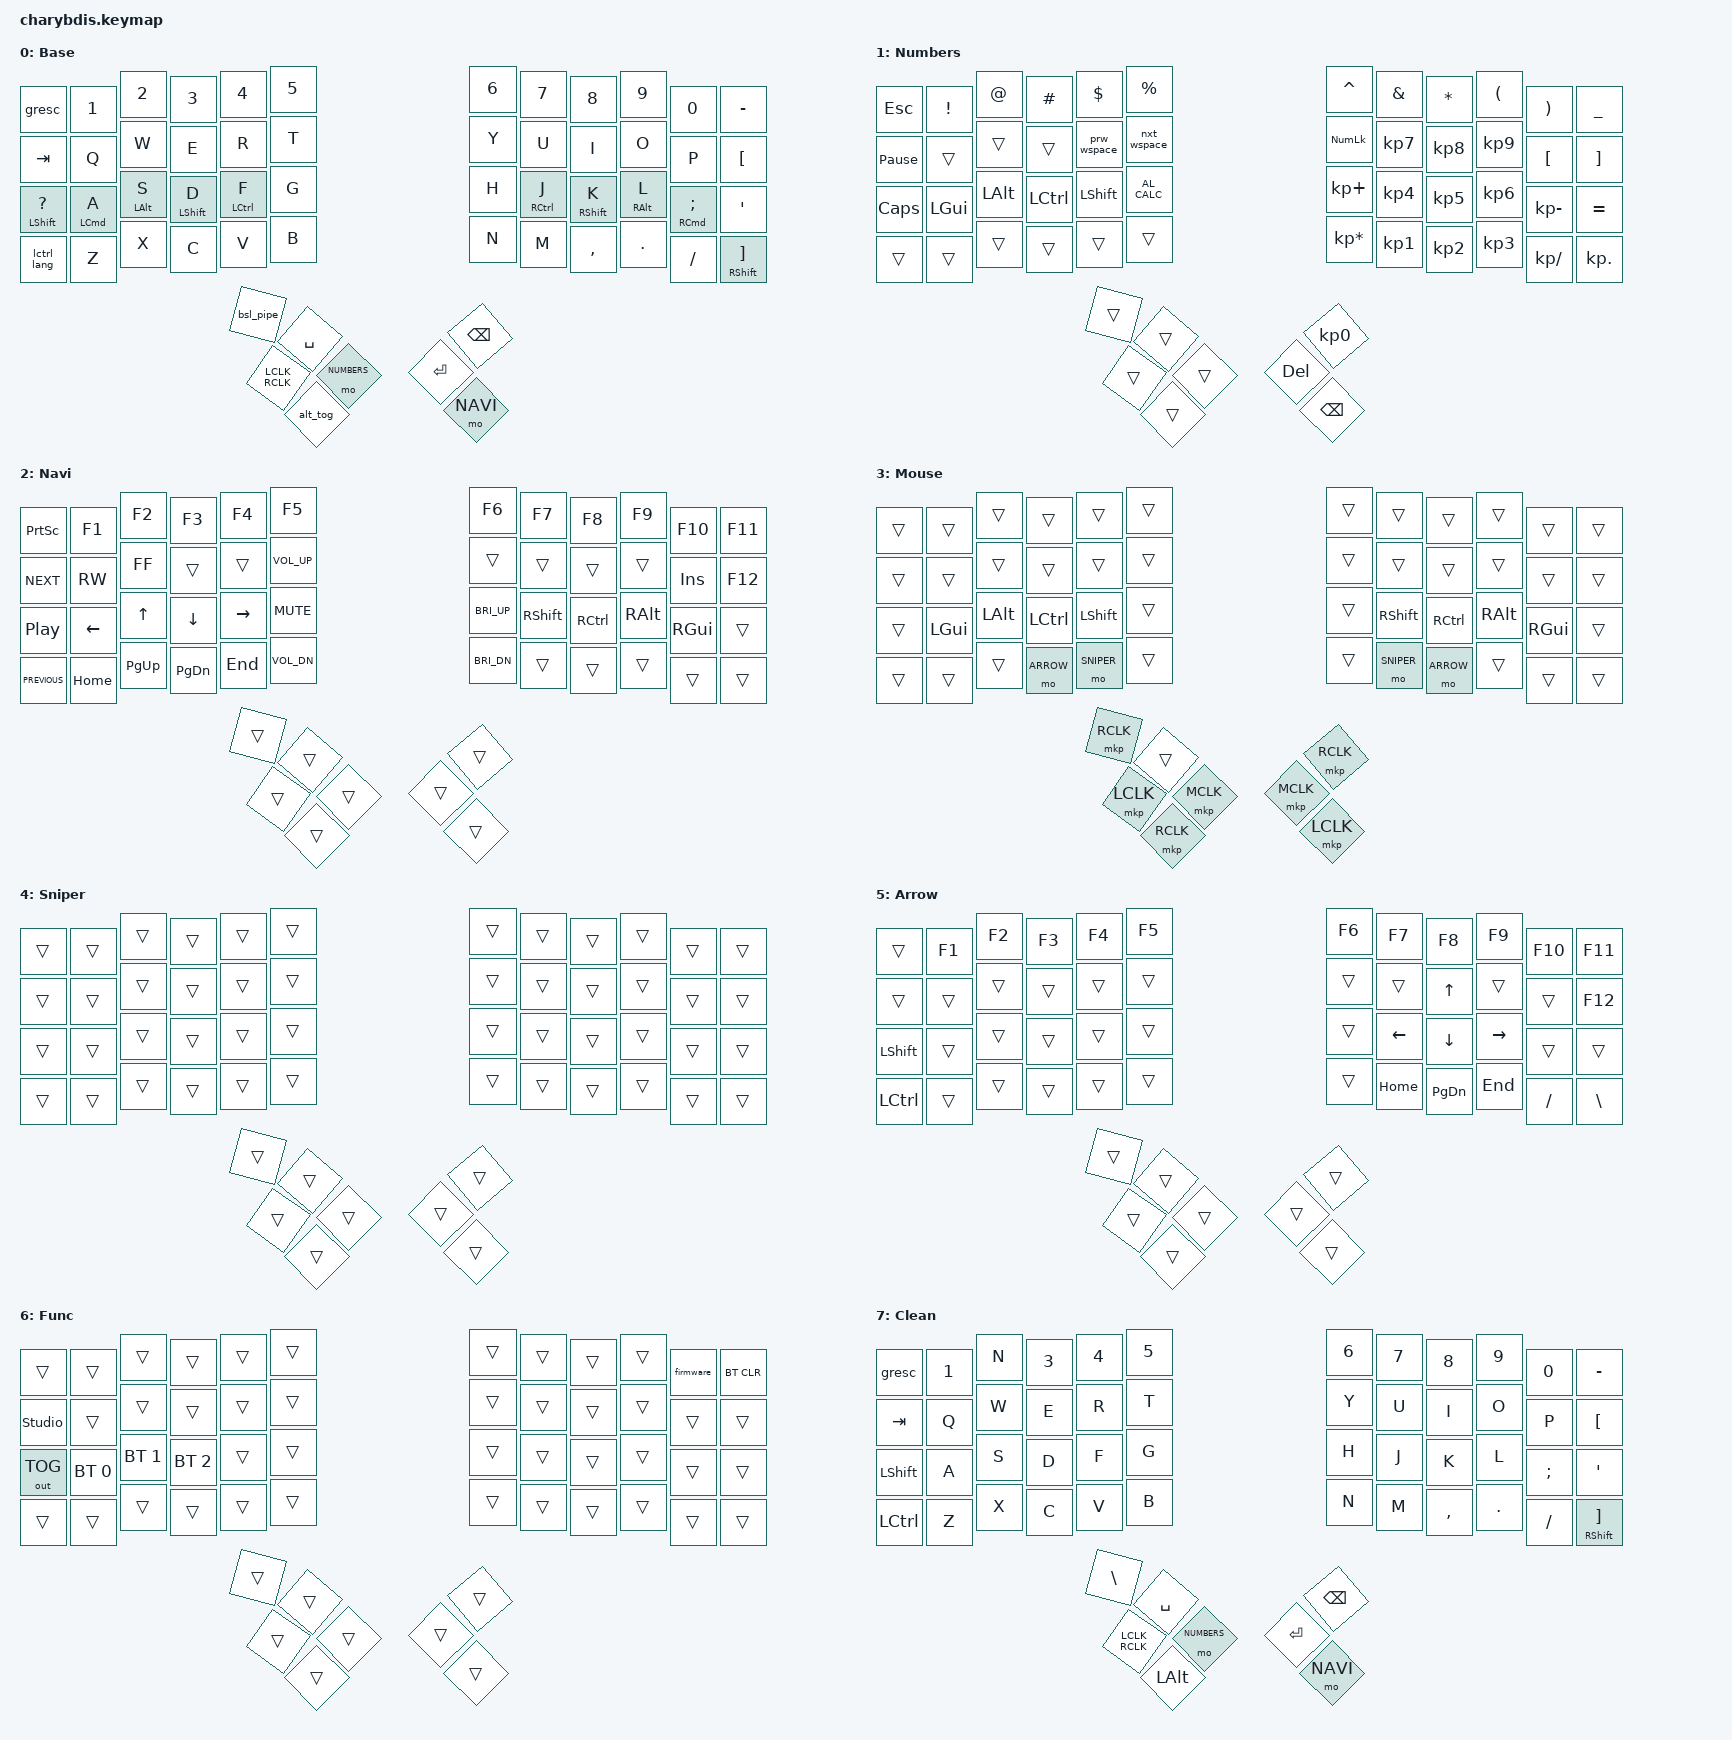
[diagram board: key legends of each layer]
wsssssssssssssssssssssssssssssssssssssssssssssssssssssssssssssssssssaaaaaaaaaaaaaaaaaaaa#include <behaviors.dtsi>
#include <input/processors.dtsi>
#include <dt-bindings/zmk/keys.h>
#include <dt-bindings/zmk/bt.h>
#include <dt-bindings/zmk/mouse.h>
#include <dt-bindings/zmk/ext_power.h>
#include <dt-bindings/zmk/outputs.h>
#include "charybdis_layers.dtsi"

/* --- KEYMAP CONFIG --- */
// ╭──────┬──────┬──────┬──────┬──────┬──────╮  ╭──────┬──────┬──────┬──────┬──────┬──────╮
// │  00  │  01  │  02  │  03  │  04  │  05  │  │  06  │  07  │  08  │  09  │  10  │  11  │
// ├──────┼──────┼──────┼──────┼──────┼──────┤  ├──────┼──────┼──────┼──────┼──────┼──────┤
// │  12  │  13  │  14  │  15  │  16  │  17  │  │  18  │  19  │  20  │  21  │  22  │  23  │
// ├──────┼──────┼──────┼──────┼──────┼──────┤  ├──────┼──────┼──────┼──────┼──────┼──────┤
// │  24  │  25  │  26  │  27  │  28  │  29  │  │  30  │  31  │  32  │  33  │  34  │  35  │
// ├──────┼──────┼──────┼──────┼──────┼──────┤  ├──────┼──────┼──────┼──────┼──────┼──────┤
// │  36  │  37  │  38  │  39  │  40  │  41  │  │  42  │  43  │  44  │  45  │  46  │  47  │
// ╰──────┴──────┴──────┼──────┼──────┼──────┤  ├──────┼──────┼──────┴──────┴──────┴──────╯
//                      │  48  │  49  │  50  │  │  51  │  52  │
//                      ╰──────┼──────┼──────┤  ├──────┼──────╯
//                             │  53  │  54  │  │  55  │
//                             ╰──────┴──────╯  ╰──────╯
#define QWERTY       0
#define NUMBERS      1
#define NAVI         2
#define MOUSE        3
#define SNIPER       4
#define ARROW        5
#define FN           6
#define NORMAL       7

#define LEFT_ROW_KEYS        0  1  2  3  4  5 \
                            12 13 14 15 16 17 \
                            24 25 26 27 28 29 \
                            36 37 38 39 40 41

#define RIGHT_ROW_KEYS       6  7  8  9 10 11 \
                            18 19 20 21 22 23 \
                            30 31 32 33 34 35 \
                            42 43 44 45 46 47

#define LEFT_THUMB_KEYS     48 49 50 \
                               53 54

#define RIGHT_THUMB_KEYS    51 52 \
                            55

&caps_word { continue-list = <UNDER BSPC DEL MINUS SEMI>; };

/ {
    combos {
        compatible = "zmk,combos";

        caps_word {
            bindings = <&caps_word>;
            key-positions = <31 28>;
            layers = <QWERTY NORMAL>;
        };

        to-mouse {
            bindings = <&to MOUSE>;
            key-positions = <37 46>;
            layers = <QWERTY NORMAL>;
        };

        to-qwerty {
            bindings = <&to QWERTY>;
            key-positions = <50 51>;
            layers = <MOUSE FN NORMAL>;
        };

        to-fn {
            bindings = <&to FN>;
            key-positions = <41 42>;
            layers = <QWERTY MOUSE NORMAL>;
        };

        to-normal {
            bindings = <&to NORMAL>;
            key-positions = <5 6>;
            layers = <QWERTY MOUSE FN>;
        };

    };

    macros {

        alt_tog: alt_tog {
            compatible = "zmk,behavior-macro";
            #binding-cells = <0>;
            bindings
                = <&macro_press &mo ARROW &kp LALT>
                , <&macro_pause_for_release>
                , <&macro_release &mo ARROW &kp LALT>
                ;
        };
        win_space: win_space {
            compatible = "zmk,behavior-macro";
            #binding-cells = <0>;
            bindings
                = <&macro_press &kp LGUI>
                , <&macro_tap &kp SPACE>
                , <&macro_release &kp LGUI>
                ;
        };
        nxt_wspace: nxt_wspace {
            compatible = "zmk,behavior-macro";
            #binding-cells = <0>;
            bindings
                = <&macro_press &kp LGUI &kp LCTRL>
                , <&macro_tap &kp RIGHT>
                , <&macro_release &kp LGUI &kp LCTRL>
                ;
        };
        prw_wspace: prw_wspace {
            compatible = "zmk,behavior-macro";
            #binding-cells = <0>;
            bindings
                = <&macro_press &kp LGUI &kp LCTRL>
                , <&macro_tap &kp LEFT>
                , <&macro_release &kp LGUI &kp LCTRL>
                ;
        };
        firmware: firmware {
            compatible = "zmk,behavior-macro";
            #binding-cells = <0>;
            bindings
                = <&macro_tap &bootloader>
                ;
        };
    };

    behaviors {

        lctrl_lang: lctrl_lang {
            compatible = "zmk,behavior-tap-dance";
            #binding-cells = <0>;
            tapping-term-ms = <400>;
            bindings = <&kp LCTRL>, <&win_space>;
        };

        bsl_pipe: bsl_pipe {
            compatible = "zmk,behavior-tap-dance";
            #binding-cells = <0>;
            tapping-term-ms = <200>;
            bindings = <&kp BSLH>, <&kp PIPE>;
        };

        // Left and right mouse keys
        LCLK_RCLK: LCLK_RCLK {
            compatible = "zmk,behavior-tap-dance";
            #binding-cells = <0>;
            tapping-term-ms = <200>;
            bindings = <&mkp LCLK>, <&mkp RCLK>;
        };

        gresc: grave_escape {
            compatible = "zmk,behavior-mod-morph";
            #binding-cells = <0>;
            bindings = <&kp GRAVE>, <&kp ESC>;
            mods = <(MOD_LGUI|MOD_RCTL|MOD_RGUI|MOD_LCTL)>;
        };

        hmr: hmr {
            compatible = "zmk,behavior-hold-tap";
            bindings = <&kp>, <&kp>;
            #binding-cells = <2>;
            tapping-term-ms = <280>;
            quick-tap-ms = <175>;
            require-prior-idle-ms = <65>;
            flavor = "balanced";
            retro-tap;
            hold-trigger-key-positions = <LEFT_ROW_KEYS LEFT_THUMB_KEYS RIGHT_THUMB_KEYS>;
            hold-trigger-on-release;
        };

        hml: hml {
            compatible = "zmk,behavior-hold-tap";
            bindings = <&kp>, <&kp>;
            #binding-cells = <2>;
            tapping-term-ms = <280>;
            quick-tap-ms = <175>;
            require-prior-idle-ms = <65>;
            flavor = "balanced";
            retro-tap;
            hold-trigger-key-positions = <RIGHT_ROW_KEYS LEFT_THUMB_KEYS RIGHT_THUMB_KEYS>;
            hold-trigger-on-release;
        };

        hmt: hmt {
            compatible = "zmk,behavior-hold-tap";
            bindings = <&kp>, <&kp>;
            #binding-cells = <2>;
            tapping-term-ms = <280>;
            flavor = "balanced";
            hold-trigger-on-release;
            hold-while-undecided;
        };
    };
    keymap {
        compatible = "zmk,keymap";

        default_layer {
            display-name = "Base";
            bindings = <
&gresc            &kp N1       &kp N2       &kp N3        &kp N4        &kp N5         &kp N6     &kp N7        &kp N8        &kp N9       &kp N0          &kp MINUS
&kp TAB           &kp Q        &kp W        &kp E         &kp R         &kp T          &kp Y      &kp U         &kp I         &kp O        &kp P           &kp LBKT
&hmt LSHFT QMARK  &hml LCMD A  &hml LALT S  &hml LSHFT D  &hml LCTRL F  &kp G          &kp H      &hmr RCTRL J  &hmr RSHFT K  &hmr RALT L  &hmr RCMD SEMI  &kp APOS
&lctrl_lang       &kp Z        &kp X        &kp C         &kp V         &kp B          &kp N      &kp M         &kp COMMA     &kp DOT      &kp SLASH       &hmr RSHFT RBKT
                                            &bsl_pipe     &kp SPACE     &mo NUMBERS    &kp ENTER  &kp BSPC
                                                          &LCLK_RCLK    &alt_tog       &mo NAVI
            >;
        };

        numbers_layer {
            display-name = "Numbers";
            bindings = <
&kp ESC          &kp EXCL  &kp AT    &kp HASH   &kp DOLLAR   &kp PERCENT      &kp CARET        &kp AMPS   &kp STAR   &kp LPAR   &kp RPAR      &kp UNDER
&kp PAUSE_BREAK  &trans    &trans    &trans     &prw_wspace  &nxt_wspace      &kp KP_NUM       &kp KP_N7  &kp KP_N8  &kp KP_N9  &kp LBKT      &kp RBKT
&kp CAPS         &kp LGUI  &kp LALT  &kp LCTRL  &kp LSHFT    &kp C_AL_CALC    &kp KP_PLUS      &kp KP_N4  &kp KP_N5  &kp KP_N6  &kp KP_MINUS  &kp EQUAL
&trans           &trans    &trans    &trans     &trans       &trans           &kp KP_MULTIPLY  &kp KP_N1  &kp KP_N2  &kp KP_N3  &kp KP_SLASH  &kp KP_DOT
                                     &trans     &trans       &trans           &kp DEL          &kp KP_N0
                                                &trans       &trans           &kp BSPC
        >;
        };

        navi_layer {
            display-name = "Navi";
            bindings = <
&kp PSCRN         &kp F1    &kp F2     &kp F3     &kp F4     &kp F5          &kp F6        &kp F7     &kp F8     &kp F9    &kp F10   &kp F11
&kp C_NEXT        &kp C_RW  &kp C_FF   &trans     &trans     &kp C_VOL_UP    &trans        &trans     &trans     &trans    &kp INS   &kp F12
&kp C_PLAY_PAUSE  &kp LEFT  &kp UP     &kp DOWN   &kp RIGHT  &kp C_MUTE      &kp C_BRI_UP  &kp RSHFT  &kp RCTRL  &kp RALT  &kp RGUI  &trans
&kp C_PREVIOUS    &kp HOME  &kp PG_UP  &kp PG_DN  &kp END    &kp C_VOL_DN    &kp C_BRI_DN  &trans     &trans     &trans    &trans    &trans
                                       &trans     &trans     &trans          &trans        &trans
                                                  &trans     &trans          &trans
            >;
        };

        mouse_layer {
            display-name = "Mouse";
            bindings = <
&trans  &trans    &trans    &trans     &trans      &trans       &trans     &trans      &trans     &trans    &trans    &trans
&trans  &trans    &trans    &trans     &trans      &trans       &trans     &trans      &trans     &trans    &trans    &trans
&trans  &kp LGUI  &kp LALT  &kp LCTRL  &kp LSHFT   &trans       &trans     &kp RSHFT   &kp RCTRL  &kp RALT  &kp RGUI  &trans
&trans  &trans    &trans    &mo ARROW  &mo SNIPER  &trans       &trans     &mo SNIPER  &mo ARROW  &trans    &trans    &trans
                            &mkp RCLK  &trans      &mkp MCLK    &mkp MCLK  &mkp RCLK
                                       &mkp LCLK   &mkp RCLK    &mkp LCLK
            >;
        };

        sniper_layer {
            display-name = "Sniper";
            bindings = <
&trans  &trans  &trans  &trans  &trans  &trans    &trans  &trans  &trans  &trans  &trans  &trans
&trans  &trans  &trans  &trans  &trans  &trans    &trans  &trans  &trans  &trans  &trans  &trans
&trans  &trans  &trans  &trans  &trans  &trans    &trans  &trans  &trans  &trans  &trans  &trans
&trans  &trans  &trans  &trans  &trans  &trans    &trans  &trans  &trans  &trans  &trans  &trans
                        &trans  &trans  &trans    &trans  &trans
                                &trans  &trans    &trans
            >;
        };

        arrow_layer {
            display-name = "Arrow";
            bindings = <
&trans     &kp F1  &kp F2  &kp F3  &kp F4  &kp F5    &kp F6  &kp F7     &kp F8     &kp F9     &kp F10    &kp F11
&trans     &trans  &trans  &trans  &trans  &trans    &trans  &trans     &kp UP     &trans     &trans     &kp F12
&kp LSHFT  &trans  &trans  &trans  &trans  &trans    &trans  &kp LEFT   &kp DOWN   &kp RIGHT  &trans     &trans
&kp LCTRL  &trans  &trans  &trans  &trans  &trans    &trans  &kp HOME   &kp PG_DN  &kp END    &kp SLASH  &kp BSLH
                           &trans  &trans  &trans    &trans  &trans
                                   &trans  &trans    &trans
            >;
        };

        function_layer {
            display-name = "Func";
            bindings = <
&trans             &trans               &trans          &trans        &trans        &trans          &trans  &trans  &trans  &trans  &firmware       &bt BT_CLR
&studio_unlock     &trans               &trans          &trans        &trans        &trans          &trans  &trans  &trans  &trans  &trans          &trans
&out OUT_TOG       &bt BT_SEL 0         &bt BT_SEL 1    &bt BT_SEL 2  &trans        &trans          &trans  &trans  &trans  &trans  &trans          &trans
&trans             &trans               &trans          &trans        &trans        &trans          &trans  &trans  &trans  &trans  &trans          &trans
                                                        &trans        &trans        &trans          &trans  &trans
                                                        &trans        &trans        &trans
            >;
        };

        normal_layer {
            display-name = "Clean";
            bindings = <
&gresc          &kp N1  &kp N  &kp N3       &kp N4        &kp N5                 &kp N6     &kp N7     &kp N8     &kp N9     &kp N0         &kp MINUS
&kp TAB         &kp Q   &kp W  &kp E        &kp R         &kp T                  &kp Y      &kp U      &kp I      &kp O      &kp P          &kp LBKT
&kp LSHFT       &kp A   &kp S  &kp D        &kp F         &kp G                  &kp H      &kp J      &kp K      &kp L      &kp SEMI       &kp APOS
&kp LCTRL       &kp Z   &kp X  &kp C        &kp V         &kp B                  &kp N      &kp M      &kp COMMA  &kp DOT    &kp SLASH      &hmr RSHFT RBKT
                               &kp BSLH     &kp SPACE     &mo NUMBERS            &kp ENTER  &kp BSPC
                                            &LCLK_RCLK    &kp LALT               &mo NAVI
            >;
        };
    };
};


/* MINIMAL SETUP */
/*
#include <behaviors.dtsi>
#include <input/processors.dtsi>
#include <dt-bindings/zmk/keys.h>
#include <dt-bindings/zmk/mouse.h>
#include <dt-bindings/zmk/ext_power.h>
#include <dt-bindings/zmk/outputs.h>
#include "charybdis_layers.dtsi"

/ {
    keymap {
        compatible = "zmk,keymap";

        default_layer {
            display-name = "Test";
            bindings = <
                &kp N1    &kp N2    &kp N3    &kp N4    &kp N5    &kp N6    &kp N7    &kp N8    &kp N9    &kp N0    &kp MINUS
                &kp TAB   &kp Q     &kp W     &kp E     &kp R     &kp T     &kp Y     &kp U     &kp I     &kp O     &kp P     &kp LBKT
                &kp LSHFT &kp A     &kp S     &kp D     &kp F     &kp G     &kp H     &kp J     &kp K     &kp L     &kp SEMI  &kp APOS
                &kp LCTRL &kp Z     &kp X     &kp C     &kp V     &kp B     &kp N     &kp M     &kp COMMA  &kp DOT    &kp SLASH &kp RBKT
                                      &kp BSLH  &kp SPACE &kp ENTER  &kp BSPC  &kp DEL
                                                   &kp LALT &kp RALT &kp ESC
            >;
        };
    };
};
*/
